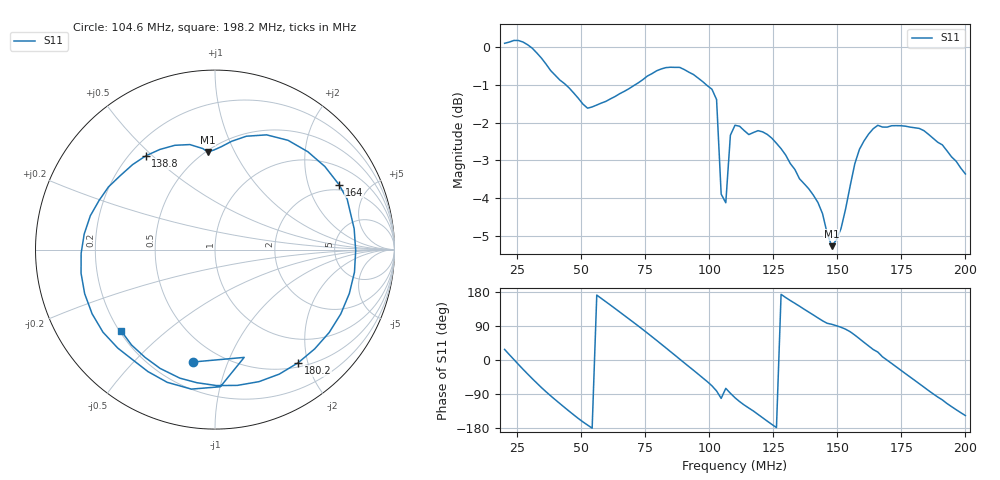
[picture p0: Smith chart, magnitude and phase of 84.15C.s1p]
# HZ S RI R 50
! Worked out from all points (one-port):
!   101 points, 20 MHz to 200 MHz, reference 50 ohm
!   lowest |S11| = -5.3 dB at 147.8 MHz (marker M1), VSWR 3.40, Z = 25.5 + j39.5 ohm
!   |S11| at or under -10 dB: nowhere
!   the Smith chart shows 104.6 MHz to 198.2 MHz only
!   S11 on the Smith chart (normalised r, x): 104.6 MHz: 0.36, -0.76; 138.8 MHz: 0.26, +0.48; 164 MHz: 1.73, +3.20; 180.2 MHz: 0.57, -1.84; 198.2 MHz: 0.21, -0.36
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2e7  0.8952 0.4732
2.54e7  1 -0.2069
3.26e7  0.4762 -0.8599
3.8e7  -0.0742 -0.9285
4.34e7  -0.515 -0.7323
5.42e7  -0.8337 -0.0012
6.5e7  -0.5164 0.6979
7.58e7  0.2999 0.8658
8.3e7  0.7967 0.4989
8.84e7  0.9399 0.0372
9.38e7  0.8184 -0.4208
9.92e7  0.4818 -0.7477
1.028e8  0.1233 -0.8438
1.046e8  -0.1249 -0.6265
1.064e8  0.1626 -0.6006
1.1e8  -0.1319 -0.7772
1.226e8  -0.7262 -0.2457
1.334e8  -0.5937 0.3491
1.388e8  -0.3856 0.5225
1.478e8  -0.04 0.5435
1.55e8  0.1746 0.6316
1.64e8  0.6911 0.3618
1.712e8  0.7772 -0.1251
1.784e8  0.5556 -0.553
1.802e8  0.4635 -0.6303
1.892e8  -0.1011 -0.7416
1.982e8  -0.5225 -0.4533
2e8  -0.5676 -0.3735
